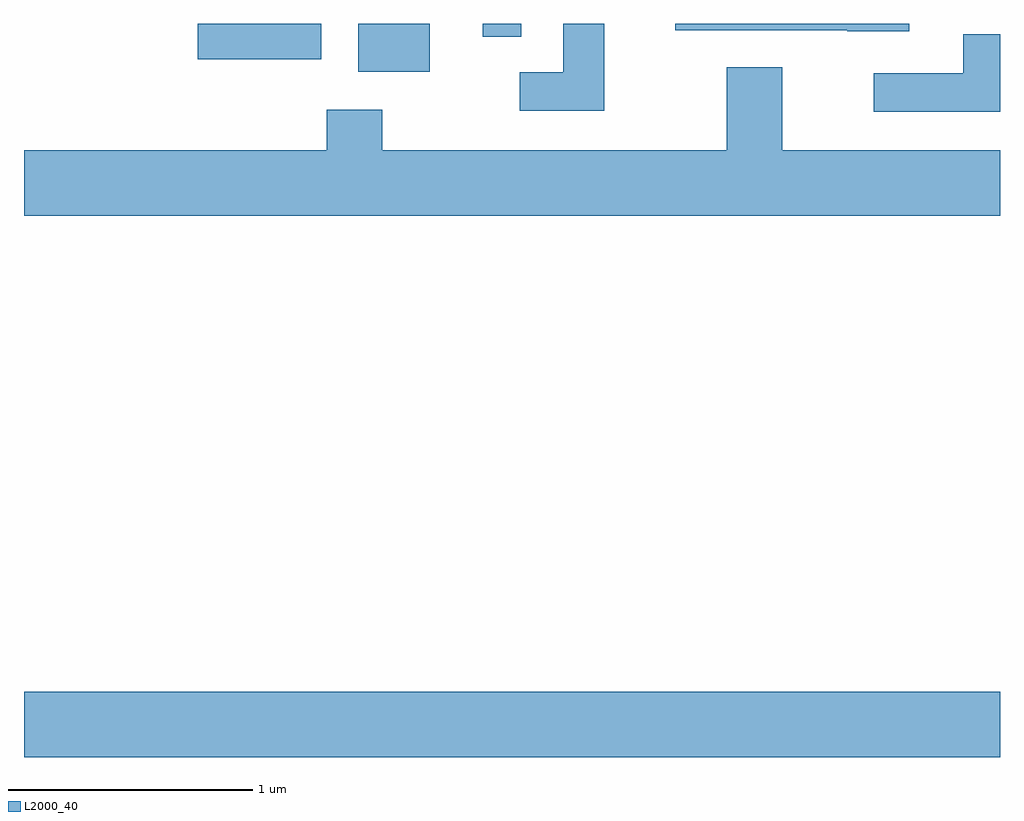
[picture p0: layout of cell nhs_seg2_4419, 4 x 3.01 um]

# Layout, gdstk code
import gdstk
lib = gdstk.Library(unit=1e-6, precision=1e-09)
def R(c, l, rs):  # rectangles x0, y0, x1, y1
    for r in rs: c.add(gdstk.rectangle(r[:2], r[2:], *l))
def P(c, l, *ps):  # polygons
    for p in ps: c.add(gdstk.Polygon(p, *l))
L2000_40 = (2000, 40)

nhs_seg2_4419 = lib.new_cell('nhs_seg2_4419')
R(nhs_seg2_4419, L2000_40, [(315.611,1012.796,319.611,1013.064), (316.981,1015.606,317.274,1015.802), (316.323,1015.656,316.829,1015.802), (317.491,1015.748,317.649,1015.802)])
P(nhs_seg2_4419, L2000_40, [(317.989,1015.802),(317.821,1015.802),(317.821,1015.604),(317.643,1015.604),(317.643,1015.446),(317.989,1015.446)],
  [(319.239,1015.802),(318.281,1015.802),(318.281,1015.776),(318.985,1015.776),(318.985,1015.771),(319.239,1015.771)],
  [(319.611,1015.759),(319.461,1015.759),(319.461,1015.599),(319.093,1015.599),(319.093,1015.441),(319.611,1015.441)],
  [(319.611,1015.284),(318.719,1015.284),(318.719,1015.624),(318.491,1015.624),(318.491,1015.284),(317.079,1015.284),(317.079,1015.449),(316.851,1015.449),(316.851,1015.284),(315.611,1015.284),(315.611,1015.016),(319.611,1015.016)])

lib.write_gds('nhs_seg2_4419.gds')
